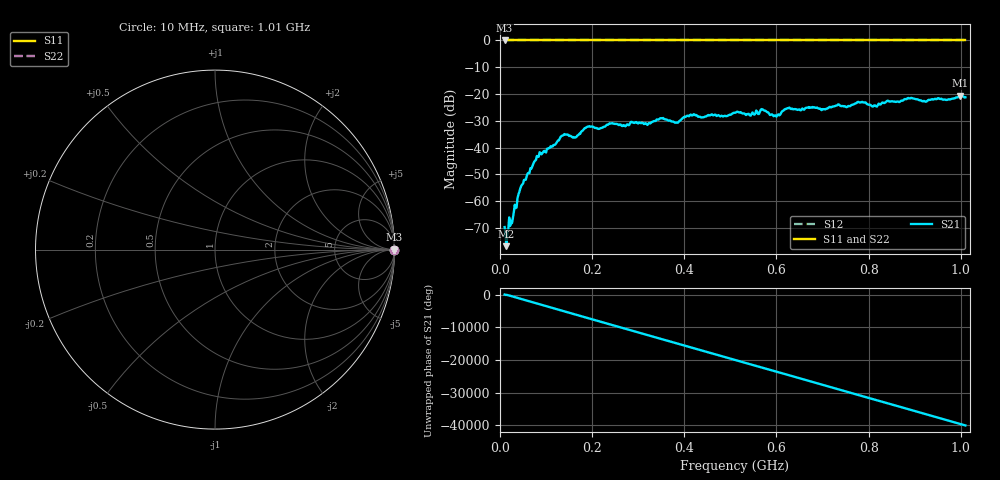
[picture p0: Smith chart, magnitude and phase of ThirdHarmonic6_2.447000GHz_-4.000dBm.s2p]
! 8/17/2025 4:20:38 AM
! C:\ANRITSUVNA\TEMP\TEMP.S2P
! CHANNEL.1
! TR.MEASUREMENT
! RAW.DATA
! RF.CORRECTION.OFF
! AVERAGING.OFF
! IF.BANDWIDTH: 5KHZ
! SWEEPTYPE:  FREQ.SWEEP(Linear)
! Reference Plane Port Info
! PORT:  PORT1  PORT2
! DISTANCE:  0  m  0  m
! TIME:  0  s  0  s
! PHASE.OFFSET:  0  deg.  0  deg.
! LOSS:  0  dB  0  dB
! REF.LOSS:  0  dB  0  dB
! REF.FREQ:  0  Hz  0  Hz
! Power Info
! POWER:  -20  dBm  -20  dBm
! EFF.POWER:  -20  dBm  -20  dBm
! SOURCE.ATTEN:  0  dB  0  dB
! TEST.ATTEN:  0  dB  0  dB
# GHZ S RI R 50.0
! FREQ.GHZ  S11RE  S11IM  S21RE  S21IM  S12RE  S12IM  S22RE  S22IM
!; PortSelection: Port_12
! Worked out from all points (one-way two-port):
!   501 points, 10 MHz to 1.01 GHz, reference 50 ohm
!   highest |S21| = -20.67 dB at 998 MHz (marker M1); lowest = -76.8 dB at 14 MHz (marker M2)
!   lowest |S11| = 0.0 dB at 10 MHz (marker M3)
!   |S11| at or under -10 dB: nowhere
!   |S22| runs from 0.0 to 0.0 dB; largest |S21 - S12| = 1.1
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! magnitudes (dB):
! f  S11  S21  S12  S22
! 10 MHz  0.0  -69.7  0.0  0.0
! 14 MHz  0.0  -76.8  0.0  0.0
! 48 MHz  0.0  -53.8  0.0  0.0
! 84 MHz  0.0  -43.4  0.0  0.0
! 136 MHz  0.0  -35.5  0.0  0.0
! 162 MHz  0.0  -36.3  0.0  0.0
! 178 MHz  0.0  -33.8  0.0  0.0
! 192 MHz  0.0  -32.2  0.0  0.0
! 322 MHz  0.0  -31.0  0.0  0.0
! 344 MHz  0.0  -29.5  0.0  0.0
! 382 MHz  0.0  -30.7  0.0  0.0
! 416 MHz  0.0  -28.0  0.0  0.0
! 510 MHz  0.0  -27.0  0.0  0.0
! 570 MHz  0.0  -25.8  0.0  0.0
! 598 MHz  0.0  -28.0  0.0  0.0
! 624 MHz  0.0  -25.3  0.0  0.0
! 678 MHz  0.0  -24.9  0.0  0.0
! 782 MHz  0.0  -23.2  0.0  0.0
! 814 MHz  0.0  -24.2  0.0  0.0
! 844 MHz  0.0  -22.7  0.0  0.0
! 998 MHz  0.0  -20.7  0.0  0.0
! 1.01 GHz  0.0  -21.2  0.0  0.0
